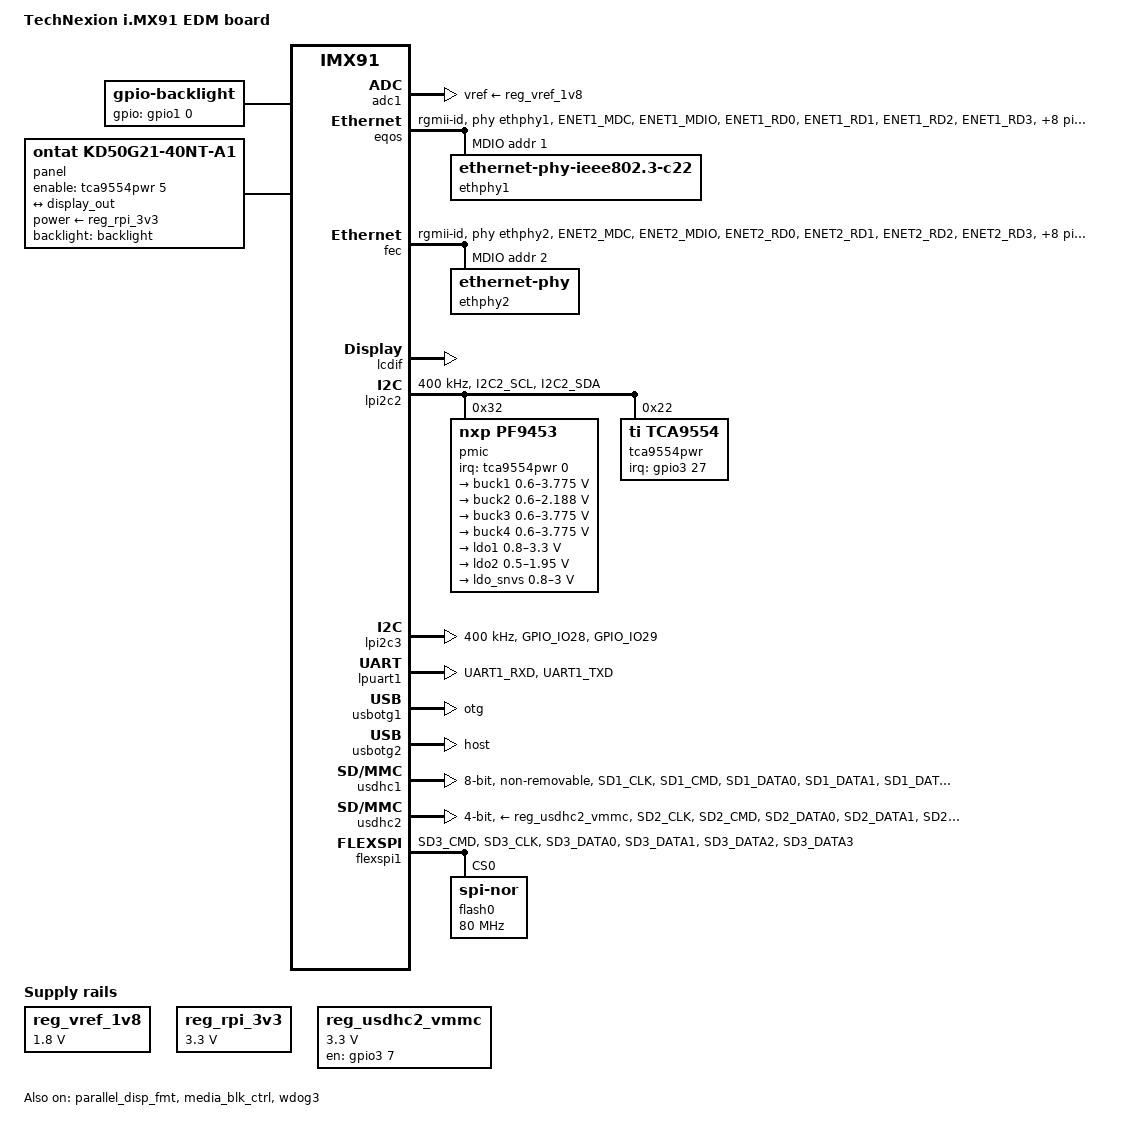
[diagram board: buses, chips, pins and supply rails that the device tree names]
// SPDX-License-Identifier: (GPL-2.0+ OR MIT)
/*
 * Copyright 2024 NXP
 */

/dts-v1/;

#include <dt-bindings/usb/pd.h>
#include "imx91.dtsi"
#include "imx91-u-boot.dtsi"

/ {
	model = "TechNexion i.MX91 EDM board";
	compatible = "fsl,imx91-edm", "fsl,imx91";

	chosen {
		stdout-path = &lpuart1;
	};

	reserved-memory {
		#address-cells = <2>;
		#size-cells = <2>;
		ranges;

		linux,cma {
			compatible = "shared-dma-pool";
			reusable;
			alloc-ranges = <0 0x80000000 0 0x40000000>;
			size = <0 0x10000000>;
			linux,cma-default;
		};
	};

	reg_vref_1v8: regulator-adc-vref {
		compatible = "regulator-fixed";
		regulator-name = "vref_1v8";
		regulator-min-microvolt = <1800000>;
		regulator-max-microvolt = <1800000>;
	};

	reg_rpi_3v3: regulator-rpi {
		compatible = "regulator-fixed";
		pinctrl-names = "default";
		regulator-name = "VDD_RPI_3V3";
		regulator-min-microvolt = <3300000>;
		regulator-max-microvolt = <3300000>;
		enable-active-high;
	};

	reg_usdhc2_vmmc: regulator-usdhc2 {
		compatible = "regulator-fixed";
		pinctrl-names = "default";
		pinctrl-0 = <&pinctrl_reg_usdhc2_vmmc>;
		regulator-name = "VSD_3V3";
		regulator-min-microvolt = <3300000>;
		regulator-max-microvolt = <3300000>;
		gpio = <&gpio3 7 GPIO_ACTIVE_HIGH>;
		off-on-delay-us = <12000>;
		enable-active-high;
	};

	backlight: backlight {
		compatible = "gpio-backlight";
		pinctrl-names = "default";
		pinctrl-0 = <&pinctrl_bl>;
		gpios = <&gpio1 0 GPIO_ACTIVE_HIGH>;
	};

	panel {
		compatible = "ontat,kd50g21-40nt-a1", "simple-panel";
		backlight = <&backlight>;
		enable-gpios = <&tca9554pwr 5 GPIO_ACTIVE_HIGH>;
		power-supply = <&reg_rpi_3v3>;

		port {
			panel_in: endpoint {
				remote-endpoint = <&display_out>;
			};
		};

		display-timings {
			native-mode = <&timing0>;
			timing0: timing0 {
				clock-frequency = <33333333>;
				hactive = <800>;
				vactive = <480>;
				hfront-porch = <210>;
				hback-porch = <46>;
				hsync-len = <20>;
				vback-porch = <22>;
				vfront-porch = <23>;
				vsync-len = <10>;

				vsync-active = <0>;
				hsync-active = <0>;
			};
		};
	};
};

&adc1 {
	vref-supply = <&reg_vref_1v8>;
	status = "okay";
};

&eqos {
	pinctrl-names = "default";
	pinctrl-0 = <&pinctrl_eqos>;
	pinctrl-1 = <&pinctrl_eqos_gpio>;
	phy-mode = "rgmii-id";
	phy-handle = <&ethphy1>;
	status = "okay";

	mdio {
		compatible = "snps,dwmac-mdio";
		#address-cells = <1>;
		#size-cells = <0>;
		clock-frequency = <5000000>;

		ethphy1: ethernet-phy@1 {
			compatible = "ethernet-phy-ieee802.3-c22";
			reg = <1>;
			eee-broken-1000t;
		};
	};
};

&fec {
	pinctrl-names = "default";
	pinctrl-0 = <&pinctrl_fec>;
	phy-mode = "rgmii-id";
	phy-handle = <&ethphy2>;
	fsl,magic-packet;
	status = "okay";

	mdio {
		#address-cells = <1>;
		#size-cells = <0>;
		clock-frequency = <5000000>;

		ethphy2: ethernet-phy@2 {
			reg = <2>;
			eee-broken-1000t;
		};
	};
};

&lcdif {
	status = "okay";
	assigned-clock-rates = <150000000>, <30000000>, <400000000>, <133333333>;
};

&parallel_disp_fmt {
	pinctrl-names = "default", "gpio";
	pinctrl-0 = <&pinctrl_lcdif>;
	pinctrl-1 = <&pinctrl_lcdif_gpio>;
	fsl,interface-pix-fmt = "rgb888";
	status = "okay";

	ports {
		port@1 {
			reg = <1>;

			display_out: endpoint {
				remote-endpoint = <&panel_in>;
			};
		};
	};
};

&lpi2c2 {
	#address-cells = <1>;
	#size-cells = <0>;
	clock-frequency = <400000>;
	pinctrl-names = "default", "sleep";
	pinctrl-0 = <&pinctrl_lpi2c2>;
	pinctrl-1 = <&pinctrl_lpi2c2>;
	status = "okay";

	pmic@32 {
		compatible = "nxp,pf9453";
		reg = <0x32>;
		interrupt-parent = <&tca9554pwr>;
		interrupts = <0 IRQ_TYPE_EDGE_FALLING>;

		regulators {
			buck1: BUCK1 {
				regulator-name = "BUCK1";
				regulator-min-microvolt = <600000>;
				regulator-max-microvolt = <3775000>;
				regulator-boot-on;
				regulator-always-on;
			};

			buck2: BUCK2 {
				regulator-name = "BUCK2";
				regulator-min-microvolt = <600000>;
				regulator-max-microvolt = <2187500>;
				regulator-boot-on;
				regulator-always-on;
				regulator-ramp-delay = <3125>;
			};

			buck3: BUCK3 {
				regulator-name = "BUCK3";
				regulator-min-microvolt = <600000>;
				regulator-max-microvolt = <3775000>;
				regulator-boot-on;
				regulator-always-on;
			};

			buck4: BUCK4{
				regulator-name = "BUCK4";
				regulator-min-microvolt = <600000>;
				regulator-max-microvolt = <3775000>;
				regulator-boot-on;
				regulator-always-on;
			};

			ldo1: LDO1 {
				regulator-name = "LDO1";
				regulator-min-microvolt = <800000>;
				regulator-max-microvolt = <3300000>;
				regulator-boot-on;
				regulator-always-on;
			};

			ldo2: LDO2 {
				regulator-name = "LDO2";
				regulator-min-microvolt = <500000>;
				regulator-max-microvolt = <1950000>;
				regulator-boot-on;
				regulator-always-on;
			};

			ldo_snvs: LDO_SNVS {
				regulator-name = "LDO_SNVS";
				regulator-min-microvolt = <800000>;
				regulator-max-microvolt = <3000000>;
				regulator-boot-on;
				regulator-always-on;
			};
		};
	};

	tca9554pwr: gpio@22 {
		compatible = "ti,tca9554";
		pinctrl-names = "default";
		pinctrl-0 = <&pinctrl_tca9554>;
		reg = <0x22>;
		gpio-controller;
		#gpio-cells = <2>;
		interrupt-controller;
		#interrupt-cells = <2>;
		interrupt-parent = <&gpio3>;
		interrupts = <27 IRQ_TYPE_LEVEL_LOW>;

		wl_reg_on {
			gpio = <&tca9554pwr 1 0>;
		};

		bt_reg_on {
			gpio = <&tca9554pwr 2 0>;
		};
	};
};

&lpi2c3 {
	#address-cells = <1>;
	#size-cells = <0>;
	clock-frequency = <400000>;
	pinctrl-names = "default", "sleep";
	pinctrl-0 = <&pinctrl_lpi2c3>;
	pinctrl-1 = <&pinctrl_lpi2c3>;
	status = "okay";
};

&lpuart1 { /* console */
	pinctrl-names = "default";
	pinctrl-0 = <&pinctrl_uart1>;
	status = "okay";
};

&media_blk_ctrl {
	status = "okay";
};

&usbotg1 {
	dr_mode = "otg";
	hnp-disable;
	srp-disable;
	adp-disable;
	usb-role-switch;
	status = "okay";
};

&usbotg2 {
	dr_mode = "host";
	status = "okay";
};

&usdhc1 {
	pinctrl-names = "default", "state_100mhz", "state_200mhz";
	pinctrl-0 = <&pinctrl_usdhc1>;
	pinctrl-1 = <&pinctrl_usdhc1_100mhz>;
	pinctrl-2 = <&pinctrl_usdhc1_200mhz>;
	bus-width = <8>;
	non-removable;
	status = "okay";
};

&usdhc2 {
	pinctrl-names = "default", "state_100mhz", "state_200mhz";
	pinctrl-0 = <&pinctrl_usdhc2>, <&pinctrl_usdhc2_gpio>;
	pinctrl-1 = <&pinctrl_usdhc2_100mhz>, <&pinctrl_usdhc2_gpio>;
	pinctrl-2 = <&pinctrl_usdhc2_200mhz>, <&pinctrl_usdhc2_gpio>;
	cd-gpios = <&gpio3 00 GPIO_ACTIVE_LOW>;
	vmmc-supply = <&reg_usdhc2_vmmc>;
	bus-width = <4>;
	status = "okay";
	no-sdio;
	no-mmc;
};

&usdhc3 {
	status = "disabled";
};

&flexspi1 {
	pinctrl-names = "default";
	pinctrl-0 = <&pinctrl_flexspi>;
	assigned-clock-rates = <80000000>;
	status = "okay";

	flash0: flash@0 {
		reg = <0>;
		#address-cells = <1>;
		#size-cells = <1>;
		compatible = "jedec,spi-nor";
		spi-max-frequency = <80000000>;
		spi-tx-bus-width = <4>;
		spi-rx-bus-width = <4>;
	};
};

&wdog3 {
	status = "okay";
};

&iomuxc {
	pinctrl_eqos: eqosgrp {
		fsl,pins = <
			MX91_PAD_ENET1_MDC__ENET1_MDC				0x57e
			MX91_PAD_ENET1_MDIO__ENET_QOS_MDIO			0x57e
			MX91_PAD_ENET1_RD0__ENET_QOS_RGMII_RD0			0x57e
			MX91_PAD_ENET1_RD1__ENET_QOS_RGMII_RD1			0x57e
			MX91_PAD_ENET1_RD2__ENET_QOS_RGMII_RD2			0x57e
			MX91_PAD_ENET1_RD3__ENET_QOS_RGMII_RD3			0x57e
			MX91_PAD_ENET1_RXC__ENET_QOS_RGMII_RXC			0x5fe
			MX91_PAD_ENET1_RX_CTL__ENET_QOS_RGMII_RX_CTL		0x57e
			MX91_PAD_ENET1_TD0__ENET_QOS_RGMII_TD0			0x57e
			MX91_PAD_ENET1_TD1__ENET1_RGMII_TD1			0x57e
			MX91_PAD_ENET1_TD2__ENET_QOS_RGMII_TD2			0x57e
			MX91_PAD_ENET1_TD3__ENET_QOS_RGMII_TD3			0x57e
			MX91_PAD_ENET1_TXC__CCM_ENET_QOS_CLOCK_GENERATE_TX_CLK	0x5fe
			MX91_PAD_ENET1_TX_CTL__ENET_QOS_RGMII_TX_CTL		0x57e
		>;
	};

	pinctrl_eqos_gpio:eqosgpiogrp {
		fsl,pins = <
			MX91_PAD_CCM_CLKO3__GPIO4_IO28				0x31e
		>;
	};

	pinctrl_flexspi: flexspigrp {
		fsl,pins = <
			MX91_PAD_SD3_CMD__FLEXSPI1_A_SS0_B      0x3fe
			MX91_PAD_SD3_CLK__FLEXSPI1_A_SCLK       0x3fe
			MX91_PAD_SD3_DATA0__FLEXSPI1_A_DATA0   0x3fe
			MX91_PAD_SD3_DATA1__FLEXSPI1_A_DATA1   0x3fe
			MX91_PAD_SD3_DATA2__FLEXSPI1_A_DATA2   0x3fe
			MX91_PAD_SD3_DATA3__FLEXSPI1_A_DATA3   0x3fe
		>;
	};

	pinctrl_fec: fecgrp {
		fsl,pins = <
			MX91_PAD_ENET2_MDC__ENET2_MDC			0x57e
			MX91_PAD_ENET2_MDIO__ENET2_MDIO			0x57e
			MX91_PAD_ENET2_RD0__ENET2_RGMII_RD0		0x57e
			MX91_PAD_ENET2_RD1__ENET2_RGMII_RD1		0x57e
			MX91_PAD_ENET2_RD2__ENET2_RGMII_RD2		0x57e
			MX91_PAD_ENET2_RD3__ENET2_RGMII_RD3		0x57e
			MX91_PAD_ENET2_RXC__ENET2_RGMII_RXC		0x5fe
			MX91_PAD_ENET2_RX_CTL__ENET2_RGMII_RX_CTL	0x57e
			MX91_PAD_ENET2_TD0__ENET2_RGMII_TD0		0x57e
			MX91_PAD_ENET2_TD1__ENET2_RGMII_TD1		0x57e
			MX91_PAD_ENET2_TD2__ENET2_RGMII_TD2		0x57e
			MX91_PAD_ENET2_TD3__ENET2_RGMII_TD3		0x57e
			MX91_PAD_ENET2_TXC__ENET2_RGMII_TXC		0x5fe
			MX91_PAD_ENET2_TX_CTL__ENET2_RGMII_TX_CTL	0x57e
		>;
	};

	pinctrl_lcdif: lcdifgrp {
		fsl,pins = <
			MX91_PAD_GPIO_IO00__MEDIAMIX_DISP_CLK		0x31e
			MX91_PAD_GPIO_IO01__MEDIAMIX_DISP_DE		0x31e
			MX91_PAD_GPIO_IO02__MEDIAMIX_DISP_VSYNC		0x31e
			MX91_PAD_GPIO_IO03__MEDIAMIX_DISP_HSYNC		0x31e
			MX91_PAD_GPIO_IO04__MEDIAMIX_DISP_DATA0		0x31e
			MX91_PAD_GPIO_IO05__MEDIAMIX_DISP_DATA1		0x31e
			MX91_PAD_GPIO_IO06__MEDIAMIX_DISP_DATA2		0x31e
			MX91_PAD_GPIO_IO07__MEDIAMIX_DISP_DATA3		0x31e
			MX91_PAD_GPIO_IO08__MEDIAMIX_DISP_DATA4		0x31e
			MX91_PAD_GPIO_IO09__MEDIAMIX_DISP_DATA5		0x31e
			MX91_PAD_GPIO_IO10__MEDIAMIX_DISP_DATA6		0x31e
			MX91_PAD_GPIO_IO11__MEDIAMIX_DISP_DATA7		0x31e
			MX91_PAD_GPIO_IO12__MEDIAMIX_DISP_DATA8		0x31e
			MX91_PAD_GPIO_IO13__MEDIAMIX_DISP_DATA9		0x31e
			MX91_PAD_GPIO_IO14__MEDIAMIX_DISP_DATA10	0x31e
			MX91_PAD_GPIO_IO15__MEDIAMIX_DISP_DATA11	0x31e
			MX91_PAD_GPIO_IO16__MEDIAMIX_DISP_DATA12	0x31e
			MX91_PAD_GPIO_IO17__MEDIAMIX_DISP_DATA13	0x31e
			MX91_PAD_GPIO_IO18__MEDIAMIX_DISP_DATA14	0x31e
			MX91_PAD_GPIO_IO19__MEDIAMIX_DISP_DATA15	0x31e
			MX91_PAD_GPIO_IO20__MEDIAMIX_DISP_DATA16	0x31e
			MX91_PAD_GPIO_IO21__MEDIAMIX_DISP_DATA17	0x31e
			MX91_PAD_GPIO_IO22__MEDIAMIX_DISP_DATA18	0x31e
			MX91_PAD_GPIO_IO23__MEDIAMIX_DISP_DATA19	0x31e
			MX91_PAD_GPIO_IO24__MEDIAMIX_DISP_DATA20	0x31e
			MX91_PAD_GPIO_IO25__MEDIAMIX_DISP_DATA21	0x31e
			MX91_PAD_GPIO_IO26__MEDIAMIX_DISP_DATA22	0x31e
			MX91_PAD_GPIO_IO27__MEDIAMIX_DISP_DATA23	0x31e
		>;
	};

	pinctrl_lcdif_gpio: lcdifgpiogrp {
		fsl,pins = <
			MX91_PAD_GPIO_IO00__GPIO2_IO0			0x31e
			MX91_PAD_GPIO_IO01__GPIO2_IO1			0x31e
			MX91_PAD_GPIO_IO02__GPIO2_IO2			0x31e
			MX91_PAD_GPIO_IO03__GPIO2_IO3			0x31e
		>;
	};

	pinctrl_bl: blgrp {
		fsl,pins = <
			MX91_PAD_I2C1_SCL__GPIO1_IO0			0x31e
		>;
	};

	pinctrl_lpi2c2: lpi2c2grp {
		fsl,pins = <
			MX91_PAD_I2C2_SCL__LPI2C2_SCL			0x40000b9e
			MX91_PAD_I2C2_SDA__LPI2C2_SDA			0x40000b9e
		>;
	};

	pinctrl_lpi2c3: lpi2c3grp {
		fsl,pins = <
			MX91_PAD_GPIO_IO28__LPI2C3_SDA			0x40000b9e
			MX91_PAD_GPIO_IO29__LPI2C3_SCL			0x40000b9e
		>;
	};

	pinctrl_tca9554: tca9554grp {
		fsl,pins = <
			MX91_PAD_CCM_CLKO2__GPIO3_IO27			0x31e
		>;
	};

	pinctrl_uart1: uart1grp {
		fsl,pins = <
			MX91_PAD_UART1_RXD__LPUART1_RX			0x31e
			MX91_PAD_UART1_TXD__LPUART1_TX			0x31e
		>;
	};

	/* need to config the SION for data and cmd pad, refer to ERR052021 */
	pinctrl_usdhc1: usdhc1grp {
		fsl,pins = <
			MX91_PAD_SD1_CLK__USDHC1_CLK		0x1582
			MX91_PAD_SD1_CMD__USDHC1_CMD		0x40001382
			MX91_PAD_SD1_DATA0__USDHC1_DATA0	0x40001382
			MX91_PAD_SD1_DATA1__USDHC1_DATA1	0x40001382
			MX91_PAD_SD1_DATA2__USDHC1_DATA2	0x40001382
			MX91_PAD_SD1_DATA3__USDHC1_DATA3	0x40001382
			MX91_PAD_SD1_DATA4__USDHC1_DATA4	0x40001382
			MX91_PAD_SD1_DATA5__USDHC1_DATA5	0x40001382
			MX91_PAD_SD1_DATA6__USDHC1_DATA6	0x40001382
			MX91_PAD_SD1_DATA7__USDHC1_DATA7	0x40001382
			MX91_PAD_SD1_STROBE__USDHC1_STROBE	0x1582
		>;
	};

	/* need to config the SION for data and cmd pad, refer to ERR052021 */
	pinctrl_usdhc1_100mhz: usdhc1-100mhzgrp {
		fsl,pins = <
			MX91_PAD_SD1_CLK__USDHC1_CLK		0x158e
			MX91_PAD_SD1_CMD__USDHC1_CMD		0x4000138e
			MX91_PAD_SD1_DATA0__USDHC1_DATA0	0x4000138e
			MX91_PAD_SD1_DATA1__USDHC1_DATA1	0x4000138e
			MX91_PAD_SD1_DATA2__USDHC1_DATA2	0x4000138e
			MX91_PAD_SD1_DATA3__USDHC1_DATA3	0x4000138e
			MX91_PAD_SD1_DATA4__USDHC1_DATA4	0x4000138e
			MX91_PAD_SD1_DATA5__USDHC1_DATA5	0x4000138e
			MX91_PAD_SD1_DATA6__USDHC1_DATA6	0x4000138e
			MX91_PAD_SD1_DATA7__USDHC1_DATA7	0x4000138e
			MX91_PAD_SD1_STROBE__USDHC1_STROBE	0x158e
		>;
	};

	/* need to config the SION for data and cmd pad, refer to ERR052021 */
	pinctrl_usdhc1_200mhz: usdhc1-200mhzgrp {
		fsl,pins = <
			MX91_PAD_SD1_CLK__USDHC1_CLK		0x15fe
			MX91_PAD_SD1_CMD__USDHC1_CMD		0x400013fe
			MX91_PAD_SD1_DATA0__USDHC1_DATA0	0x400013fe
			MX91_PAD_SD1_DATA1__USDHC1_DATA1	0x400013fe
			MX91_PAD_SD1_DATA2__USDHC1_DATA2	0x400013fe
			MX91_PAD_SD1_DATA3__USDHC1_DATA3	0x400013fe
			MX91_PAD_SD1_DATA4__USDHC1_DATA4	0x400013fe
			MX91_PAD_SD1_DATA5__USDHC1_DATA5	0x400013fe
			MX91_PAD_SD1_DATA6__USDHC1_DATA6	0x400013fe
			MX91_PAD_SD1_DATA7__USDHC1_DATA7	0x400013fe
			MX91_PAD_SD1_STROBE__USDHC1_STROBE	0x15fe
		>;
	};

	pinctrl_reg_usdhc2_vmmc: regusdhc2vmmcgrp {
		fsl,pins = <
			MX91_PAD_SD2_RESET_B__GPIO3_IO7		0x31e
		>;
	};

	pinctrl_usdhc2_gpio: usdhc2gpiogrp {
		fsl,pins = <
			MX91_PAD_SD2_CD_B__GPIO3_IO0		0x31e
		>;
	};

	pinctrl_usdhc2_gpio_sleep: usdhc2gpiogrpsleep {
		fsl,pins = <
			MX91_PAD_SD2_CD_B__GPIO3_IO0		0x51e
		>;
	};

	/* need to config the SION for data and cmd pad, refer to ERR052021 */
	pinctrl_usdhc2: usdhc2grp {
		fsl,pins = <
			MX91_PAD_SD2_CLK__USDHC2_CLK		0x1582
			MX91_PAD_SD2_CMD__USDHC2_CMD		0x40001382
			MX91_PAD_SD2_DATA0__USDHC2_DATA0	0x40001382
			MX91_PAD_SD2_DATA1__USDHC2_DATA1	0x40001382
			MX91_PAD_SD2_DATA2__USDHC2_DATA2	0x40001382
			MX91_PAD_SD2_DATA3__USDHC2_DATA3	0x40001382
			MX91_PAD_SD2_VSELECT__USDHC2_VSELECT	0x51e
		>;
	};

	/* need to config the SION for data and cmd pad, refer to ERR052021 */
	pinctrl_usdhc2_100mhz: usdhc2-100mhzgrp {
		fsl,pins = <
			MX91_PAD_SD2_CLK__USDHC2_CLK		0x158e
			MX91_PAD_SD2_CMD__USDHC2_CMD		0x4000138e
			MX91_PAD_SD2_DATA0__USDHC2_DATA0	0x4000138e
			MX91_PAD_SD2_DATA1__USDHC2_DATA1	0x4000138e
			MX91_PAD_SD2_DATA2__USDHC2_DATA2	0x4000138e
			MX91_PAD_SD2_DATA3__USDHC2_DATA3	0x4000138e
			MX91_PAD_SD2_VSELECT__USDHC2_VSELECT	0x51e
		>;
	};

	/* need to config the SION for data and cmd pad, refer to ERR052021 */
	pinctrl_usdhc2_200mhz: usdhc2-200mhzgrp {
		fsl,pins = <
			MX91_PAD_SD2_CLK__USDHC2_CLK		0x15fe
			MX91_PAD_SD2_CMD__USDHC2_CMD		0x400013fe
			MX91_PAD_SD2_DATA0__USDHC2_DATA0	0x400013fe
			MX91_PAD_SD2_DATA1__USDHC2_DATA1	0x400013fe
			MX91_PAD_SD2_DATA2__USDHC2_DATA2	0x400013fe
			MX91_PAD_SD2_DATA3__USDHC2_DATA3	0x400013fe
			MX91_PAD_SD2_VSELECT__USDHC2_VSELECT	0x51e
		>;
	};
};
